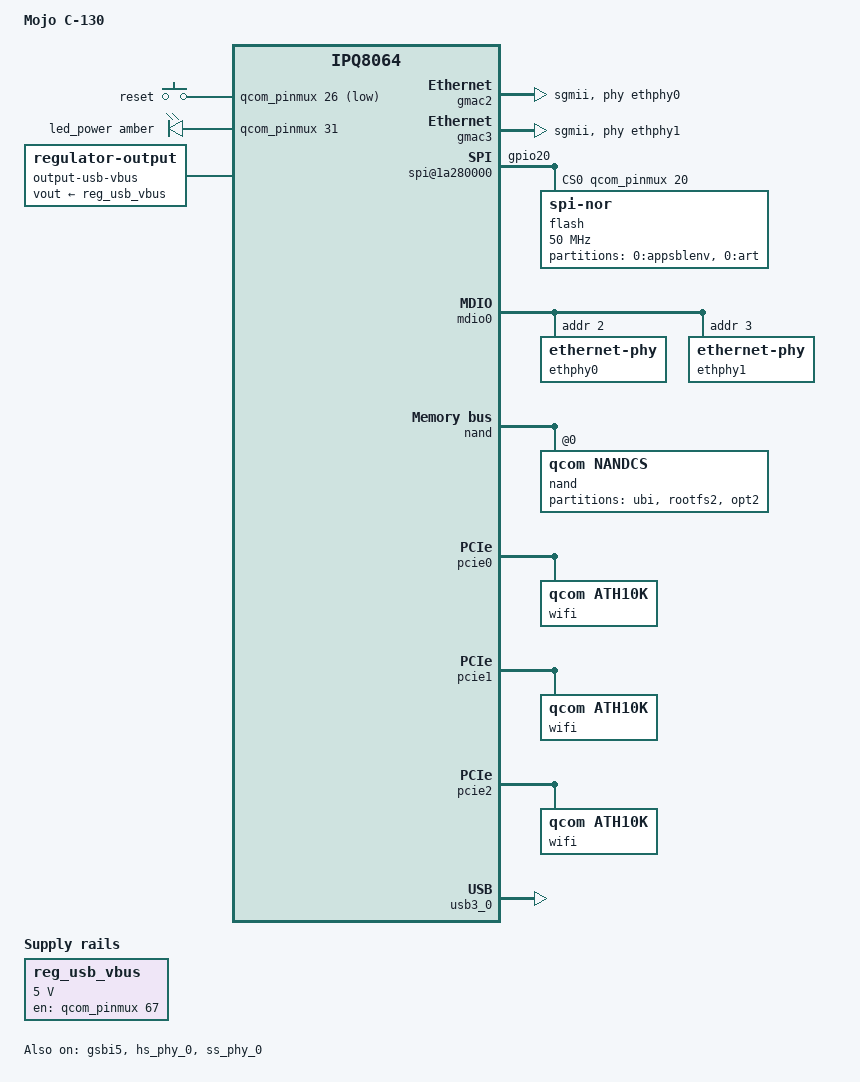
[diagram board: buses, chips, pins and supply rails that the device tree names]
// SPDX-License-Identifier: GPL-2.0-or-later OR MIT

#include <dt-bindings/input/input.h>
#include <dt-bindings/leds/common.h>
#include <dt-bindings/soc/qcom,tcsr.h>

#include "qcom-ipq8064-v2.0-smb208.dtsi"

/ {
	model = "Mojo C-130";
	compatible = "mojo,c-130", "qcom,ipq8064";

	aliases {
		label-mac-device = &gmac2;
		led-boot = &led_power;
		led-failsafe = &led_power;
//		led-running = &led_power;
		led-upgrade = &led_power;
	};

	chosen {
		bootargs-override = "console=ttyMSM0,115200n8 root=/dev/ubiblock0_1";
	};

	cpus {
		idle-states {
			CPU_SPC: spc {
				status = "disabled";
			};
		};
	};

	keys {
		compatible = "gpio-keys";
		pinctrl-0 = <&buttons_pins>;
		pinctrl-names = "default";

		button-reset {
			label = "reset";
			gpios = <&qcom_pinmux 26 GPIO_ACTIVE_LOW>;
			linux,code = <KEY_RESTART>;
			debounce-interval = <60>;
			wakeup-source;
		};
	};

	leds {
		compatible = "gpio-leds";
		pinctrl-0 = <&leds_pins>;
		pinctrl-names = "default";

		led_power: led-power {
			color = <LED_COLOR_ID_AMBER>;
			function = LED_FUNCTION_POWER;
			gpios = <&qcom_pinmux 31 GPIO_ACTIVE_HIGH>;
			panic-indicator;
		};
	};

	reg_usb_vbus: regulator-usb-vbus {
		compatible = "regulator-fixed";
		regulator-name = "usb-vbus";
		regulator-min-microvolt = <5000000>;
		regulator-max-microvolt = <5000000>;
		gpios = <&qcom_pinmux 67 GPIO_ACTIVE_HIGH>;
		enable-active-high;
		pinctrl-0 = <&regulator_pins>;
		pinctrl-names = "default";
	};

	output-usb-vbus {
		compatible = "regulator-output";
		vout-supply = <&reg_usb_vbus>;
	};

	reserved-memory {
		nss@40000000 {
			reg = <0x40000000 0x1000000>;
			no-map;
		};

		smem: smem@41000000 {
			reg = <0x41000000 0x200000>;
			no-map;
		};

		wifi_dump@44000000 {
			reg = <0x44000000 0x600000>;
			no-map;
		};
	};
};

&adm_dma {
	status = "okay";
};

&gmac2 {
	status = "okay";

	qcom,id = <2>;
	mdiobus = <&mdio0>;
	phy-mode = "sgmii";
	phy-handle = <&ethphy0>;
	nvmem-cell-names = "mac-address";
	nvmem-cells = <&macaddr_art_0>;
};

&gmac3 {
	status = "okay";

	qcom,id = <3>;
	mdiobus = <&mdio0>;
	phy-mode = "sgmii";
	phy-handle = <&ethphy1>;
	nvmem-cell-names = "mac-address";
	nvmem-cells = <&macaddr_art_6>;
};

&gsbi5 {
	status = "okay";

	qcom,mode = <GSBI_PROT_SPI>;

	spi@1a280000 {
		status = "okay";

		spi-max-frequency = <50000000>;
		cs-gpios = <&qcom_pinmux 20 GPIO_ACTIVE_HIGH>;
		pinctrl-0 = <&spi_pins &spi_cs_pins>;
		pinctrl-names = "default";

		flash@0 {
			compatible = "jedec,spi-nor";
			reg = <0>;
			spi-max-frequency = <50000000>;
			#address-cells = <1>;
			#size-cells = <1>;

			partitions {
				compatible = "qcom,smem-part";

				partition-0-appsblenv {
					label = "0:appsblenv";

					nvmem-layout {
						compatible = "u-boot,env";
					};
				};

				partition-0-art {
					label = "0:art";

					nvmem-layout {
						compatible = "fixed-layout";
						#address-cells = <1>;
						#size-cells = <1>;

						macaddr_art_0: macaddr@0 {
							reg = <0x0 0x6>;
						};

						macaddr_art_6: macaddr@6 {
							reg = <0x6 0x6>;
						};

						model@40 {
							reg = <0x40 0x5>;
						};

						serial-number@30 {
							reg = <0x50 0xd>;
						};

						precal_art_1000: precal@1000 {
							reg = <0x1000 0x2f20>;
						};

						precal_art_5000: precal@5000 {
							reg = <0x5000 0x2f20>;
						};
					};
				};
			};
		};
	};
};

&hs_phy_0 {
	status = "okay";
};

&mdio0 {
	status = "okay";

	pinctrl-0 = <&mdio0_pins>;
	pinctrl-names = "default";

	ethphy0: ethernet-phy@2 {
		reg = <2>;
	};

	ethphy1: ethernet-phy@3 {
		reg = <3>;
	};
};

&nand {
	status = "okay";

	nand@0 {
		compatible = "qcom,nandcs";
		reg = <0>;
		nand-bus-width = <8>;
		nand-ecc-strength = <4>;
		nand-ecc-step-size = <512>;

		partitions {
			compatible = "fixed-partitions";
			#address-cells = <1>;
			#size-cells = <1>;

			partition@0 {
				label = "ubi";
				reg = <0x0000000 0x4000000>;
			};

			partition@4000000 {
				label = "rootfs2";
				reg = <0x4000000 0x2000000>;
			};

			partition@6000000 {
				label = "opt2";
				reg = <0x6000000 0x2000000>;
			};
		};
	};
};

&pcie0 {
	status = "okay";

	pcie@0 {
		wifi@1,0 {
			compatible = "qcom,ath10k";
			reg = <0x00010000 0 0 0 0>;
			nvmem-cells = <&precal_art_1000>;
			nvmem-cell-names = "pre-calibration";
			qcom,ath10k-calibration-variant = "Mojo-C-130";
		};
	};
};

&pcie1 {
	status = "okay";

	pcie@0 {
		wifi@1,0 {
			compatible = "qcom,ath10k";
			status = "okay";
			reg = <0x00010000 0 0 0 0>;
			nvmem-cells = <&precal_art_5000>;
			nvmem-cell-names = "pre-calibration";
			qcom,ath10k-calibration-variant = "Mojo-C-130";
		};
	};
};

&pcie2 {
	status = "okay";

	pcie@0 {
		wifi@1,0 {
			compatible = "qcom,ath10k";
			reg = <0x00010000 0 0 0 0>;
		};
	};
};

&qcom_pinmux {
	spi_cs_pins: spi-cs-pins {
		pins = "gpio20";
		function = "gpio";
		drive-strength = <10>;
		bias-pull-up;
	};

	buttons_pins: buttons-state {
		pins = "gpio26";
		function = "gpio";
	};

	leds_pins: leds-state {
		pins = "gpio31";
		function = "gpio";
		drive-strength = <12>;
		bias-pull-up;
	};

	regulator_pins: regulator-pins {
		pins = "gpio67";
		function = "gpio";
	};
};

&ss_phy_0 {
	status = "okay";
};

&usb3_0 {
	status = "okay";
};
